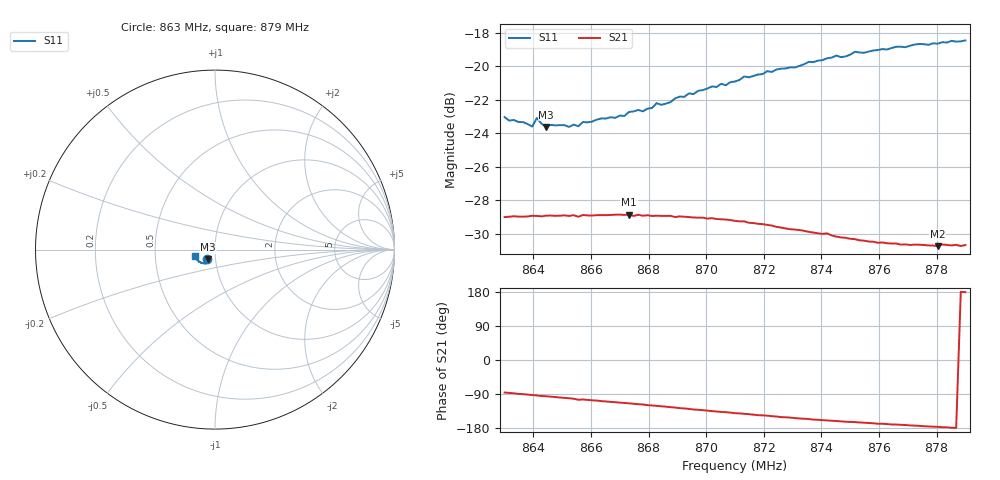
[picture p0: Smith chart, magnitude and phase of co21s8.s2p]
# HZ S RI R 50
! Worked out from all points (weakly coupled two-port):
!   101 points, 863 MHz to 879 MHz, reference 50 ohm
!   highest |S21| = -28.86 dB at 867.32 MHz (marker M1); lowest = -30.8 dB at 878.04 MHz (marker M2)
!   lowest |S11| = -23.6 dB at 864.44 MHz (marker M3), VSWR 1.14, Z = 46.1 - j5 ohm
!   |S11| at or under -10 dB: start of sweep to end of sweep
!   S12 and S22 are empty: the file has one direction only
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8.63e8  -0.044 -0.055  0.00259 -0.0353  0 0  0 0
8.6396e8  -0.0376 -0.0543  -0.00152 -0.0357  0 0  0 0
8.6412e8  -0.0425 -0.0557  -0.00222 -0.0356  0 0  0 0
8.6444e8  -0.0377 -0.054  -0.00349 -0.0356  0 0  0 0
8.6556e8  -0.0332 -0.0573  -0.00918 -0.0343  0 0  0 0
8.6572e8  -0.0336 -0.0593  -0.0088 -0.0349  0 0  0 0
8.6716e8  -0.0328 -0.063  -0.0143 -0.033  0 0  0 0
8.6732e8  -0.0344 -0.0644  -0.0148 -0.0329  0 0  0 0
8.678e8  -0.0346 -0.0647  -0.0164 -0.0317  0 0  0 0
8.6812e8  -0.0351 -0.0663  -0.0178 -0.0309  0 0  0 0
8.6828e8  -0.0364 -0.0685  -0.0184 -0.0307  0 0  0 0
8.6844e8  -0.0361 -0.0676  -0.019 -0.0302  0 0  0 0
8.694e8  -0.041 -0.0721  -0.0223 -0.0275  0 0  0 0
8.71e8  -0.0491 -0.0755  -0.0266 -0.022  0 0  0 0
8.7132e8  -0.0519 -0.0774  -0.0271 -0.0211  0 0  0 0
8.7372e8  -0.0705 -0.075  -0.0294 -0.0123  0 0  0 0
8.7452e8  -0.0787 -0.0734  -0.0293 -0.0101  0 0  0 0
8.7484e8  -0.0797 -0.0714  -0.0294 -0.009  0 0  0 0
8.7516e8  -0.0856 -0.0699  -0.0292 -0.00849  0 0  0 0
8.7644e8  -0.0952 -0.0615  -0.0291 -0.0051  0 0  0 0
8.7804e8  -0.1065 -0.0479  -0.0289 -0.00178  0 0  0 0
8.79e8  -0.1135 -0.0371  -0.0292 0.000517  0 0  0 0
